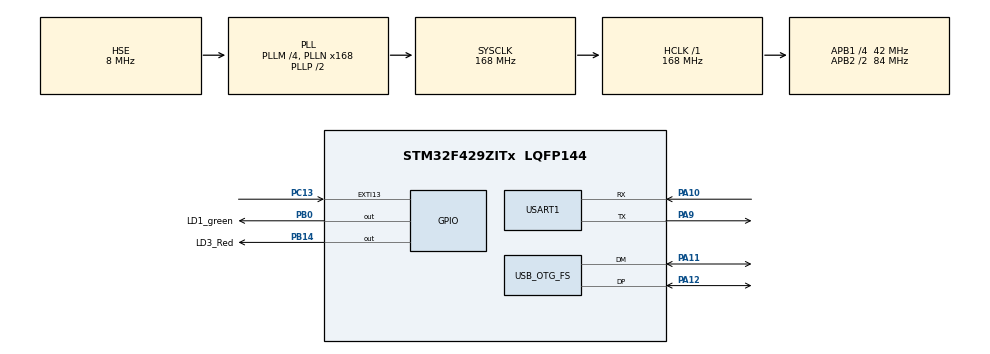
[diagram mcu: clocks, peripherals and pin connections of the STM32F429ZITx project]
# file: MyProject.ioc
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Mcu.Family=STM32F4
Mcu.Name=STM32F429ZITx
Mcu.Package=LQFP144
NVIC.EXTI15_10_IRQn=true\:0\:0\:false\:false\:true\:true\:true\:true
NVIC.OTG_FS_IRQn=true\:0\:0\:false\:false\:true\:false\:true\:true
NVIC.PriorityGroup=NVIC_PRIORITYGROUP_4
PA10.Mode=Asynchronous
PA10.Signal=USART1_RX
PA11.Mode=Device_Only
PA11.Signal=USB_OTG_FS_DM
PA12.Mode=Device_Only
PA12.Signal=USB_OTG_FS_DP
PA13.Mode=Serial_Wire
PA13.Signal=SYS_JTMS-SWDIO
PA14.Mode=Serial_Wire
PA14.Signal=SYS_JTCK-SWCLK
PA9.Mode=Asynchronous
PA9.Signal=USART1_TX
PB0.GPIO_Label=LD1_green
PB0.Signal=GPIO_Output
PB14.GPIO_Label=LD3_Red
PB14.Signal=GPIO_Output
PC13.GPIO_ModeDefaultEXTI=GPIO_MODE_IT_FALLING
PC13.Signal=GPXTI13
PH0/OSC_IN.Mode=HSE-External-Clock-Source
PH0/OSC_IN.Signal=RCC_OSC_IN
PH1/OSC_OUT.Mode=HSE-External-Clock-Source
PH1/OSC_OUT.Signal=RCC_OSC_OUT
ProjectManager.HeapSize=0x200
ProjectManager.StackSize=0x400
ProjectManager.TargetToolchain=STM32CubeIDE
RCC.48MHZClocksFreq_Value=48000000
RCC.AHBFreq_Value=168000000
RCC.APB1CLKDivider=RCC_HCLK_DIV4
RCC.APB1Freq_Value=42000000
RCC.APB1TimFreq_Value=84000000
RCC.APB2CLKDivider=RCC_HCLK_DIV2
RCC.APB2Freq_Value=84000000
RCC.APB2TimFreq_Value=168000000
RCC.CortexFreq_Value=168000000
RCC.HCLKFreq_Value=168000000
RCC.HSE_VALUE=8000000
RCC.HSI_VALUE=16000000
RCC.LSE_VALUE=32768
RCC.PLLM=4
RCC.PLLMUL=RCC_PLL_MUL9
RCC.PLLN=168
RCC.PLLQ=7
RCC.PRESCALERUSB=RCC_USBCLKSOURCE_PLL_DIV1_5
RCC.SYSCLKFreq_VALUE=168000000
RCC.SYSCLKSource=RCC_SYSCLKSOURCE_PLLCLK
RCC.SYSCLKSourceVirtual=RCC_SYSCLKSOURCE_PLLCLK
RCC.USBFreq_Value=48000000
RCC.VCOOutputFreq_Value=336000000
USART1.VirtualMode=VM_ASYNC
USB_DEVICE.CLASS_NAME_FS=CDC
USB_DEVICE.PRODUCT_STRING_CDC_FS=STM32 Virtual Port
USB_DEVICE.VirtualMode-CDC_FS=Cdc
USB_DEVICE.VirtualModeFS=Cdc_FS
USB_OTG_FS.VirtualMode=Device_Only
VP_USB_DEVICE_VS_USB_DEVICE_CDC_FS.Mode=CDC_FS
board=NUCLEO-F429ZI

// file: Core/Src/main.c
/* USER CODE BEGIN Header */
/**
  ******************************************************************************
  * @file           : main.c
  * @brief          : Main program body
  ******************************************************************************
  * @attention
  *
  * Copyright (c) 2023 STMicroelectronics.
  * All rights reserved.
  *
  * This software is licensed under terms that can be found in the LICENSE file
  * in the root directory of this software component.
  * If no LICENSE file comes with this software, it is provided AS-IS.
  *
  ******************************************************************************
  */
/* USER CODE END Header */
#include "main.h"
#include "usb_device.h"

/* USER CODE BEGIN Includes */
#include "string.h"
#include "usbd_cdc_if.h"
#include "stdio.h"
/* USER CODE END Includes */

UART_HandleTypeDef huart1;

/* USER CODE BEGIN PV */
uint8_t SystemState = 0;
uint8_t ButtonPressCount = 0;
uint8_t LedState1 = 0;
uint8_t LedState2 = 0;
uint8_t flag_state = 0;
uint8_t flag_l1 = 0;
uint8_t flag_l2 = 0;
uint8_t flag_button = 0;
uint8_t flag_last = 0;

char off_state[] = "Off";
char on_state[] = "On";
char init_string[] = "$$";
char end_string[] ="**";

/* USER CODE END PV */

void SystemClock_Config(void);
static void MX_GPIO_Init(void);
static void MX_USART1_UART_Init(void);

/* USER CODE BEGIN 0 */

void HAL_GPIO_EXTI_Callback(uint16_t GPIO_Pin){

	SystemState = SystemState + 1; // incrementing SystemState by one
	ButtonPressCount = ButtonPressCount + 1;

	if (SystemState > 3){
		SystemState = 0;
	}

	//char message[150];
	if (SystemState == 0){
		LedState1 = 0;
		LedState2 = 0;
		//uint16_t msg = sprintf(message,"%s,%c,%s,%s,%c,%s", init_string, (char)SystemState, off_state, off_state, (char)ButtonPressCount, end_string);
		//HAL_UART_Transmit(&huart1,(uint8_t*)msg, sizeof(msg),1000);
		//CDC_Transmit_FS((uint8_t*)msg, sizeof(msg));
		CDC_Transmit_FS((uint8_t*) "$$Off,Off**", sizeof("$$Off,Off**"));

	}
	else if (SystemState == 1){
		LedState1 = 0;
		LedState2 = 1;
		CDC_Transmit_FS((uint8_t*) "$$Off,On**", sizeof("$$Off,On**"));
		}
	else if (SystemState == 2){
		LedState1 = 1;
		LedState2 = 0;
		CDC_Transmit_FS((uint8_t*) "$$On,Off**", sizeof("$$On,Off**"));
		}
	else{
		LedState1 = 1;
		LedState2 = 1;
		CDC_Transmit_FS((uint8_t*) "$$On,On**", sizeof("$$On,On**"));
		//sprintf(message,"$$%d, %s, %s, %d**", SystemState, on_state, on_state, ButtonPressCount);
		}

	//char *str = tostring(message);
	//CDC_Transmit_FS((uint8_t*) str, sizeof(str));
}

/* USER CODE END 0 */

int main(void)
{

  /* MCU Configuration--------------------------------------------------------*/

  /* Reset of all peripherals, Initializes the Flash interface and the Systick. */
  HAL_Init();

  /* Configure the system clock */
  SystemClock_Config();

  /* Initialize all configured peripherals */
  MX_GPIO_Init();
  MX_USB_DEVICE_Init();
  MX_USART1_UART_Init();

  /* Infinite loop */
  /* USER CODE BEGIN WHILE */
  while (1)
  {
	  if (LedState1 == 0){
		  HAL_GPIO_WritePin(GPIOB, LD3_Red_Pin, GPIO_PIN_RESET);
	  }
	  else if (LedState1 == 1){
		  HAL_GPIO_WritePin(GPIOB, LD3_Red_Pin, GPIO_PIN_SET);
	  }
	  if (LedState2 == 0){
		  HAL_GPIO_WritePin(GPIOB, LD1_green_Pin, GPIO_PIN_RESET);
	  }
	  else if (LedState2 == 1){
		  HAL_GPIO_WritePin(GPIOB, LD1_green_Pin, GPIO_PIN_SET);
	  }

    /* USER CODE END WHILE */

  }
}

void SystemClock_Config(void)
{
  RCC_OscInitTypeDef RCC_OscInitStruct = {0};
  RCC_ClkInitTypeDef RCC_ClkInitStruct = {0};

  /** Configure the main internal regulator output voltage
  */
  __HAL_RCC_PWR_CLK_ENABLE();
  __HAL_PWR_VOLTAGESCALING_CONFIG(PWR_REGULATOR_VOLTAGE_SCALE1);

  /** Initializes the RCC Oscillators according to the specified parameters
  * in the RCC_OscInitTypeDef structure.
  */
  RCC_OscInitStruct.OscillatorType = RCC_OSCILLATORTYPE_HSE;
  RCC_OscInitStruct.HSEState = RCC_HSE_BYPASS;
  RCC_OscInitStruct.PLL.PLLState = RCC_PLL_ON;
  RCC_OscInitStruct.PLL.PLLSource = RCC_PLLSOURCE_HSE;
  RCC_OscInitStruct.PLL.PLLM = 4;
  RCC_OscInitStruct.PLL.PLLN = 168;
  RCC_OscInitStruct.PLL.PLLP = RCC_PLLP_DIV2;
  RCC_OscInitStruct.PLL.PLLQ = 7;
  if (HAL_RCC_OscConfig(&RCC_OscInitStruct) != HAL_OK)
  {
    Error_Handler();
  }

  /** Initializes the CPU, AHB and APB buses clocks
  */
  RCC_ClkInitStruct.ClockType = RCC_CLOCKTYPE_HCLK|RCC_CLOCKTYPE_SYSCLK
                              |RCC_CLOCKTYPE_PCLK1|RCC_CLOCKTYPE_PCLK2;
  RCC_ClkInitStruct.SYSCLKSource = RCC_SYSCLKSOURCE_PLLCLK;
  RCC_ClkInitStruct.AHBCLKDivider = RCC_SYSCLK_DIV1;
  RCC_ClkInitStruct.APB1CLKDivider = RCC_HCLK_DIV4;
  RCC_ClkInitStruct.APB2CLKDivider = RCC_HCLK_DIV2;

  if (HAL_RCC_ClockConfig(&RCC_ClkInitStruct, FLASH_LATENCY_5) != HAL_OK)
  {
    Error_Handler();
  }
}

static void MX_USART1_UART_Init(void)
{

  huart1.Instance = USART1;
  huart1.Init.BaudRate = 115200;
  huart1.Init.WordLength = UART_WORDLENGTH_8B;
  huart1.Init.StopBits = UART_STOPBITS_1;
  huart1.Init.Parity = UART_PARITY_NONE;
  huart1.Init.Mode = UART_MODE_TX_RX;
  huart1.Init.HwFlowCtl = UART_HWCONTROL_NONE;
  huart1.Init.OverSampling = UART_OVERSAMPLING_16;
  if (HAL_UART_Init(&huart1) != HAL_OK)
  {
    Error_Handler();
  }

}

static void MX_GPIO_Init(void)
{
  GPIO_InitTypeDef GPIO_InitStruct = {0};

  /* GPIO Ports Clock Enable */
  __HAL_RCC_GPIOC_CLK_ENABLE();
  __HAL_RCC_GPIOH_CLK_ENABLE();
  __HAL_RCC_GPIOB_CLK_ENABLE();
  __HAL_RCC_GPIOA_CLK_ENABLE();

  /*Configure GPIO pin Output Level */
  HAL_GPIO_WritePin(GPIOB, LD1_green_Pin|LD3_Red_Pin, GPIO_PIN_RESET);

  /*Configure GPIO pin : PC13 */
  GPIO_InitStruct.Pin = GPIO_PIN_13;
  GPIO_InitStruct.Mode = GPIO_MODE_IT_FALLING;
  GPIO_InitStruct.Pull = GPIO_NOPULL;
  HAL_GPIO_Init(GPIOC, &GPIO_InitStruct);

  /*Configure GPIO pins : LD1_green_Pin LD3_Red_Pin */
  GPIO_InitStruct.Pin = LD1_green_Pin|LD3_Red_Pin;
  GPIO_InitStruct.Mode = GPIO_MODE_OUTPUT_PP;
  GPIO_InitStruct.Pull = GPIO_NOPULL;
  GPIO_InitStruct.Speed = GPIO_SPEED_FREQ_LOW;
  HAL_GPIO_Init(GPIOB, &GPIO_InitStruct);

  /* EXTI interrupt init*/
  HAL_NVIC_SetPriority(EXTI15_10_IRQn, 0, 0);
  HAL_NVIC_EnableIRQ(EXTI15_10_IRQn);

}

void Error_Handler(void)
{
  __disable_irq();
  while (1)
  {
  }
}
